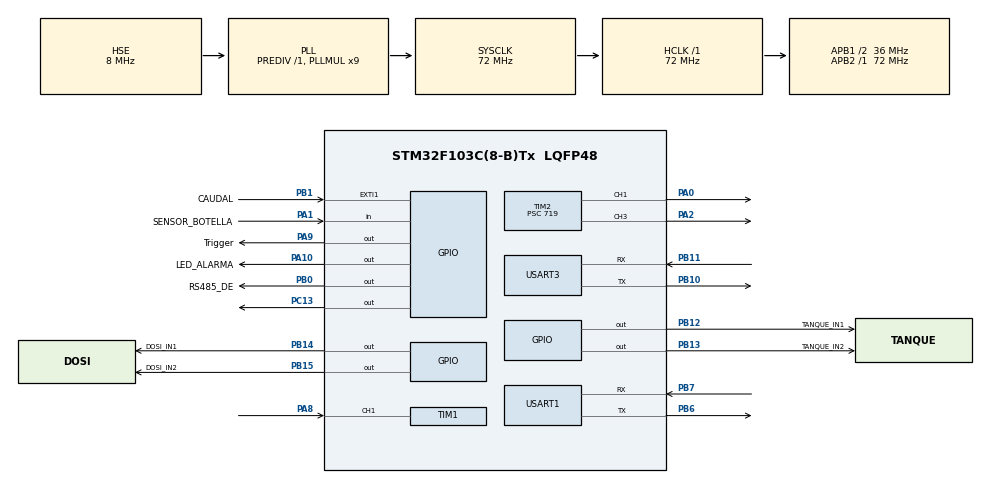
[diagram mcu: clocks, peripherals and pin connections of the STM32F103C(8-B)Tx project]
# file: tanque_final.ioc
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Mcu.Family=STM32F1
Mcu.Name=STM32F103C(8-B)Tx
Mcu.Package=LQFP48
NVIC.EXTI1_IRQn=true\:2\:0\:true\:false\:true\:true\:true\:true
NVIC.PriorityGroup=NVIC_PRIORITYGROUP_4
NVIC.TIM1_CC_IRQn=true\:0\:0\:false\:false\:true\:true\:true\:true
NVIC.USART1_IRQn=true\:0\:0\:false\:false\:true\:true\:true\:true
NVIC.USART3_IRQn=true\:0\:0\:false\:false\:true\:true\:true\:true
PA0-WKUP.Signal=S_TIM2_CH1_ETR
PA1.GPIO_Label=SENSOR_BOTELLA
PA1.GPIO_PuPd=GPIO_PULLUP
PA1.Signal=GPIO_Input
PA10.GPIO_Label=LED_ALARMA
PA10.Signal=GPIO_Output
PA2.Signal=S_TIM2_CH3
PA8.Signal=S_TIM1_CH1
PA9.GPIO_Label=Trigger
PA9.Signal=GPIO_Output
PB0.GPIO_Label=RS485_DE
PB0.Signal=GPIO_Output
PB1.GPIO_Label=CAUDAL
PB1.Signal=GPXTI1
PB10.Mode=Asynchronous
PB10.Signal=USART3_TX
PB11.Mode=Asynchronous
PB11.Signal=USART3_RX
PB12.GPIO_Label=TANQUE_IN1
PB12.Signal=GPIO_Output
PB13.GPIO_Label=TANQUE_IN2
PB13.Signal=GPIO_Output
PB14.GPIO_Label=DOSI_IN1
PB14.Signal=GPIO_Output
PB15.GPIO_Label=DOSI_IN2
PB15.Signal=GPIO_Output
PB6.Mode=Asynchronous
PB6.Signal=USART1_TX
PB7.Mode=Asynchronous
PB7.Signal=USART1_RX
PC13-TAMPER-RTC.Signal=GPIO_Output
PD0-OSC_IN.Mode=HSE-External-Oscillator
PD0-OSC_IN.Signal=RCC_OSC_IN
PD1-OSC_OUT.Mode=HSE-External-Oscillator
PD1-OSC_OUT.Signal=RCC_OSC_OUT
ProjectManager.HeapSize=0x200
ProjectManager.StackSize=0x400
ProjectManager.TargetToolchain=STM32CubeIDE
RCC.AHBFreq_Value=72000000
RCC.APB1CLKDivider=RCC_HCLK_DIV2
RCC.APB1Freq_Value=36000000
RCC.APB1TimFreq_Value=72000000
RCC.APB2Freq_Value=72000000
RCC.APB2TimFreq_Value=72000000
RCC.HCLKFreq_Value=72000000
RCC.PLLMUL=RCC_PLL_MUL9
RCC.PLLSourceVirtual=RCC_PLLSOURCE_HSE
RCC.SYSCLKFreq_VALUE=72000000
RCC.SYSCLKSource=RCC_SYSCLKSOURCE_PLLCLK
RCC.USBFreq_Value=72000000
SH.S_TIM1_CH1.0=TIM1_CH1,Input_Capture1_from_TI1
SH.S_TIM2_CH1_ETR.0=TIM2_CH1,PWM Generation1 CH1
SH.S_TIM2_CH3.0=TIM2_CH3,PWM Generation3 CH3
TIM1.Channel-Input_Capture1_from_TI1=TIM_CHANNEL_1
TIM1.Prescaler=71
TIM2.Channel-PWM\ Generation1\ CH1=TIM_CHANNEL_1
TIM2.Channel-PWM\ Generation3\ CH3=TIM_CHANNEL_3
TIM2.Period=99
TIM2.Prescaler=719
USART1.VirtualMode=VM_ASYNC
USART3.VirtualMode=VM_ASYNC
VP_SYS_VS_ND.Mode=No_Debug
board=custom

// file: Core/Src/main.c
/* USER CODE BEGIN Header */
/**
  ******************************************************************************
  * @file           : main.c
  * @brief          : Main program body
  ******************************************************************************
  * @attention
  *
  * Copyright (c) 2026 STMicroelectronics.
  * All rights reserved.
  *
  * This software is licensed under terms that can be found in the LICENSE file
  * in the root directory of this software component.
  * If no LICENSE file comes with this software, it is provided AS-IS.
  *
  ******************************************************************************
  */
/* USER CODE END Header */
#include "main.h"
#include "tim.h"
#include "usart.h"
#include "gpio.h"

/* USER CODE BEGIN Includes */
#include "hc_sr04.h"
#include "rs485.h"
#include "protocolo_rs485.h"
#include <stdint.h>
#include <stdio.h>
#include <string.h>
/* USER CODE END Includes */

/* USER CODE BEGIN PTD */
typedef enum
{
    TANQUE_AUTONOMO = 0,
    TANQUE_ALARMA   = 1
} EstadoTanque;

typedef enum
{
    DOSIF_ESPERANDO_BOTELLA = 0,
    DOSIF_ESPERANDO_INICIO  = 1,
    DOSIF_LLENANDO          = 2,
    DOSIF_BOTELLA_LLENA     = 3
} EstadoDosificador;
/* USER CODE END PTD */

/* USER CODE BEGIN PD */
#define BUFFER_SIZE                    64

#define ALTURA_TANQUE_CM               28
#define SETPOINT_MAX_CM                24
#define NIVEL_REBOSE_CRITICO_CM        25

//variables para controlar el HC-SR04
#define CONTROL_TANQUE_PERIODO_MS      70
#define LECTURAS_INVALIDAS_MAX         15
#define TIEMPO_MARCHA_SECO_MS          15000

#define BANDA_PROPORCIONAL_CM          8
#define PWM_TANQUE_MIN                 65
#define PWM_TANQUE_MAX                 99

#define PWM_DOSI_RAPIDO                98
#define PWM_DOSI_LENTO                 75
#define PORCENTAJE_CAMBIO_LENTO        80

/* 6,44 pulsos/ml expresado sin punto flotante. Debe calibrarse. */
#define PULSOS_X100_POR_ML             644
#define VOLUMEN_RECETA_MAX_ML          10000

#define ALARMA_SIN_ERROR               0
#define ALARMA_MARCHA_SECO             1
#define ALARMA_REBOSE                  2
#define ALARMA_SENSOR_NIVEL            3

#define RS485_RESPUESTA_DELAY_MS       5
/* USER CODE END PD */

/* USER CODE BEGIN PV */
static volatile EstadoTanque estado_tanque = TANQUE_AUTONOMO;
static volatile EstadoDosificador estado_dosi = DOSIF_ESPERANDO_INICIO;

static uint16_t distancia_tanque_cm = 0;
static volatile uint8_t nivel_tanque_filtrado = 0;
static volatile uint8_t setpoint_nivel = 15;
static volatile uint8_t alarma_codigo = ALARMA_SIN_ERROR;
static uint8_t lecturas_invalidas = 0;

static uint8_t bomba_tanque_encendida = 0;
static uint32_t tick_control_tanque = 0;

static uint32_t tick_uart = 0;
static char mensaje_uart[128];

static uint32_t tick_inicio_bomba = 0;
static uint8_t nivel_inicial_bomba = 0;
static uint8_t chequeo_seco_activo = 0;

static volatile uint16_t volumen_receta_ml = 0;
static volatile uint8_t receta_lista = 0;
static volatile uint32_t pulsos_objetivo = 0;
static volatile uint32_t pulsos_caudal = 0;

static uint8_t rx_byte = 0;
static volatile uint8_t recibiendo = 0;
static volatile uint8_t comando_listo = 0;
static volatile uint8_t comando_desbordado = 0;
static volatile uint8_t indice = 0;
static char buffer_rx[BUFFER_SIZE];

//llenado automatico completo
static uint8_t evento_llenado_pendiente = 0;
static uint16_t evento_llenado_secuencia = 0;
/* USER CODE END PV */

void SystemClock_Config(void);
/* USER CODE BEGIN PFP */
static uint16_t HCSR04_Get_Distance_Filtered(void);
static void interpretar_comando(void);
static uint8_t parsear_uint32(const char *texto, uint32_t *valor);

static void uart_enviar_texto(const char *texto);
static void uart_enviar_respuesta_valor(const char *formato, uint32_t valor1, uint32_t valor2);

static uint8_t Hay_Botella(void);
static void maquina_estados_tanque(void);
static void maquina_estados_dosificador(void);
static void iniciar_dosificacion(void);
static void abortar_dosificacion(void);
static void resetear_alarma_tanque(void);

static void disparar_alarma(uint8_t codigo);
static void detener_bomba_tanque(void);
static void detener_bomba_dosificador(void);
static void procesar_rs485_tanque(void);

static HAL_StatusTypeDef tanque_enviar_rs485(uint8_t origen, uint8_t comando, uint8_t param_h, uint8_t param_l);

static void tanque_generar_evento_llenado(void);
/* USER CODE END PFP */

int main(void)
{

  /* MCU Configuration--------------------------------------------------------*/

  /* Reset of all peripherals, Initializes the Flash interface and the Systick. */
  HAL_Init();

  /* Configure the system clock */
  SystemClock_Config();

  /* Initialize all configured peripherals */
  MX_GPIO_Init();
  MX_TIM1_Init();
  MX_TIM2_Init();
  MX_USART1_UART_Init();
  MX_USART3_UART_Init();

  /* USER CODE BEGIN 2 */
  if (HAL_TIM_PWM_Start(&htim2, TIM_CHANNEL_1) != HAL_OK)
  {
    Error_Handler();
  }

  if (HAL_TIM_PWM_Start(&htim2, TIM_CHANNEL_3) != HAL_OK)
  {
    Error_Handler();
  }

  detener_bomba_tanque();
  detener_bomba_dosificador();

  HAL_GPIO_WritePin(LED_ALARMA_GPIO_Port, LED_ALARMA_Pin, GPIO_PIN_RESET);

  HCSR04_Init();

  if (HAL_UART_Receive_IT(&huart1, &rx_byte, 1) != HAL_OK)
  {
    Error_Handler();
  }

  if (RS485_Init(&huart3, RS485_DE_GPIO_Port, RS485_DE_Pin, ID_TANQUE) != HAL_OK)
  {
    Error_Handler();
  }

  uart_enviar_texto("Iniciando...\r\n");
  uart_enviar_texto("Comandos: :S15 :R500 :I1 :I0 :A1 (terminar con CR/LF)\r\n");

  tick_control_tanque = HAL_GetTick();
  tick_uart = HAL_GetTick();

  /* USER CODE END 2 */

  /* Infinite loop */
  while (1)
  {

    /* USER CODE BEGIN 3 */

    procesar_rs485_tanque();

    if (comando_listo != 0)
    {
      interpretar_comando();
      comando_desbordado = 0;
      comando_listo = 0;
    }

    maquina_estados_dosificador();

    //control del tanque cada 70ms
    if ((HAL_GetTick() - tick_control_tanque) >= CONTROL_TANQUE_PERIODO_MS)
    {
      tick_control_tanque = HAL_GetTick();
      maquina_estados_tanque();
    }

    //cada 1 segundo imprime mensaje de estado por la UART local
    if ((HAL_GetTick() - tick_uart) >= 1000)
    {
      int longitud;
      uint32_t pulsos_actuales = pulsos_caudal;

      tick_uart = HAL_GetTick();
      longitud = snprintf(mensaje_uart, sizeof(mensaje_uart), "STAT: NIVEL=%u,SP=%u,BOTELLA=%u,RECETA=%u,PULSOS=%lu/%lu,ALARMA=%u\r\n",
    		  nivel_tanque_filtrado, setpoint_nivel, Hay_Botella(), volumen_receta_ml, pulsos_actuales, pulsos_objetivo, alarma_codigo);

      HAL_UART_Transmit(&huart1, (uint8_t *)mensaje_uart, (uint16_t)longitud, 100);
    }
  }
  /* USER CODE END 3 */
}

void SystemClock_Config(void)
{
  RCC_OscInitTypeDef RCC_OscInitStruct = {0};
  RCC_ClkInitTypeDef RCC_ClkInitStruct = {0};

  /** Initializes the RCC Oscillators according to the specified parameters
  * in the RCC_OscInitTypeDef structure.
  */
  RCC_OscInitStruct.OscillatorType = RCC_OSCILLATORTYPE_HSE;
  RCC_OscInitStruct.HSEState = RCC_HSE_ON;
  RCC_OscInitStruct.HSEPredivValue = RCC_HSE_PREDIV_DIV1;
  RCC_OscInitStruct.HSIState = RCC_HSI_ON;
  RCC_OscInitStruct.PLL.PLLState = RCC_PLL_ON;
  RCC_OscInitStruct.PLL.PLLSource = RCC_PLLSOURCE_HSE;
  RCC_OscInitStruct.PLL.PLLMUL = RCC_PLL_MUL9;
  if (HAL_RCC_OscConfig(&RCC_OscInitStruct) != HAL_OK)
  {
    Error_Handler();
  }

  /** Initializes the CPU, AHB and APB buses clocks
  */
  RCC_ClkInitStruct.ClockType = RCC_CLOCKTYPE_HCLK|RCC_CLOCKTYPE_SYSCLK
                              |RCC_CLOCKTYPE_PCLK1|RCC_CLOCKTYPE_PCLK2;
  RCC_ClkInitStruct.SYSCLKSource = RCC_SYSCLKSOURCE_PLLCLK;
  RCC_ClkInitStruct.AHBCLKDivider = RCC_SYSCLK_DIV1;
  RCC_ClkInitStruct.APB1CLKDivider = RCC_HCLK_DIV2;
  RCC_ClkInitStruct.APB2CLKDivider = RCC_HCLK_DIV1;

  if (HAL_RCC_ClockConfig(&RCC_ClkInitStruct, FLASH_LATENCY_2) != HAL_OK)
  {
    Error_Handler();
  }
}

/* USER CODE BEGIN 4 */

//para enviar respuestas al maestro, ACKs o NACKs
static HAL_StatusTypeDef tanque_enviar_rs485(uint8_t origen, uint8_t comando, uint8_t param_h, uint8_t param_l)
{
    HAL_Delay(RS485_RESPUESTA_DELAY_MS);

    return RS485_Send_Packet(origen, comando, param_h, param_l);
}

//crea el evento y lo deja pediente
static void tanque_generar_evento_llenado(void)
{
    evento_llenado_secuencia++;

    if (evento_llenado_secuencia == 0) //por si se desborda
    {
        evento_llenado_secuencia = 1;
    }

    evento_llenado_pendiente = 1;
}

static void procesar_rs485_tanque(void)
{
    uint8_t origen; //origen de donde vino el mensaje, no el origen del esclavo
    uint8_t comando;
    uint8_t param_h;
    uint8_t param_l;
    uint16_t valor;

    if (rs485_paquete_listo == 0)
    {
        return;
    }

    origen = rs485_rx_origen;
    comando = rs485_rx_cmd;
    param_h = rs485_rx_param_h;
    param_l = rs485_rx_param_l;

    rs485_paquete_listo = 0;

    if (origen != ID_MAESTRO)
    {
        return;
    }

    valor = (uint16_t)(((uint16_t)param_h << 8) | param_l);

    switch (comando)
    {
        case CMD_PING:
            if (tanque_enviar_rs485(origen, CMD_PONG, param_h, param_l) != HAL_OK)
            {
                uart_enviar_texto("ERR,RS485,NO_SE_PUDO_ENVIAR_PONG\r\n"); //mensaje por la UART local para corroborar
            }
            break;

        case CMD_PEDIR_ESTADO_TANQUE:
            if (tanque_enviar_rs485(origen, CMD_RESP_ESTADO_TANQUE, alarma_codigo, nivel_tanque_filtrado) != HAL_OK)
            {
                uart_enviar_texto("ERR,RS485,NO_SE_PUDO_ENVIAR_ESTADO_TANQUE\r\n");
            }
            break;

        case CMD_PEDIR_ESTADO_DOSIF:
            if (tanque_enviar_rs485(origen, CMD_RESP_ESTADO_DOSIF, (uint8_t)estado_dosi, Hay_Botella()) != HAL_OK)
            {
                uart_enviar_texto("ERR,RS485,NO_SE_PUDO_ENVIAR_ESTADO_DOSIF\r\n");
            }
            break;

        case CMD_PEDIR_EVENTO_TANQUE:

            if (evento_llenado_pendiente != 0) //esta el flag para mandar el evento?
            {
                if (tanque_enviar_rs485(origen, CMD_EVENTO_TANQUE_LLENADO_COMPLETO, (uint8_t)(evento_llenado_secuencia >> 8),
                        (uint8_t)(evento_llenado_secuencia & 0xFF)) != HAL_OK)
                {
                    uart_enviar_texto("ERR,RS485,NO_SE_PUDO_ENVIAR_EVENTO_TANQUE\r\n");
                }
            }
            else
            {
                if (tanque_enviar_rs485(origen, CMD_RESP_SIN_EVENTO, 0, 0) != HAL_OK)
                {
                    uart_enviar_texto("ERR,RS485,NO_SE_PUDO_RESPONDER_SIN_EVENTO\r\n");
                }
            }
            break;

        case CMD_TANQUE_SETPOINT:
            if (valor > SETPOINT_MAX_CM)
            {
                tanque_enviar_rs485(origen, CMD_RESP_NACK, comando, NACK_FUERA_DE_RANGO);
            }
            else
            {
                setpoint_nivel = (uint8_t)valor;
                tanque_enviar_rs485(origen, CMD_RESP_ACK, comando, ACK_OK);
            }
            break;

        case CMD_TANQUE_RECETA:
            if ((valor == 0) || (valor > VOLUMEN_RECETA_MAX_ML))
            {
                tanque_enviar_rs485(origen, CMD_RESP_NACK, comando, NACK_FUERA_DE_RANGO);
            }
            else if ((estado_dosi == DOSIF_LLENANDO) || (estado_dosi == DOSIF_ESPERANDO_BOTELLA))
            {
                tanque_enviar_rs485(origen, CMD_RESP_NACK, comando, NACK_OCUPADO);
            }
            else
            {
                volumen_receta_ml = valor;
                pulsos_objetivo = (((uint32_t)valor * PULSOS_X100_POR_ML) + 50) / 100;
                receta_lista = 1;

                tanque_enviar_rs485(origen, CMD_RESP_ACK, comando, ACK_OK);
            }
            break;

        case CMD_TANQUE_CONTROL_DOSIF:
            if ((param_h != 0) || (param_l > 1)) //este comando corresponde a :TI0 o :TI1 por eso esta condicion
            {
                tanque_enviar_rs485(origen, CMD_RESP_NACK, comando, NACK_PARAMETRO_INVALIDO);
            }
            else if (param_l == 0) //por si llega :TI0
            {
                abortar_dosificacion();
                tanque_enviar_rs485(origen, CMD_RESP_ACK, comando, ACK_OK);
            }
            else if (estado_tanque == TANQUE_ALARMA) //si esta en estado de alaema NACK
            {
                tanque_enviar_rs485(origen, CMD_RESP_NACK, comando, NACK_ALARMA_ACTIVA);
            }
            else if (receta_lista == 0) //si todavia no habian mandado la receta NACK
            {
                tanque_enviar_rs485(origen, CMD_RESP_NACK, comando, NACK_SIN_RECETA);
            }
            else if ((estado_dosi == DOSIF_LLENANDO) || (estado_dosi == DOSIF_ESPERANDO_BOTELLA)) //¿Ya hay una dosificación activa?
            {
                tanque_enviar_rs485(origen, CMD_RESP_NACK, comando, NACK_OCUPADO);
            }
            else if ((estado_dosi == DOSIF_BOTELLA_LLENA) && (Hay_Botella() == 1)) //¿Existe una botella llena todavía colocada?
            {
                tanque_enviar_rs485(origen, CMD_RESP_NACK, comando, NACK_RETIRE_BOTELLA);
            }
            else if (evento_llenado_pendiente == 1) //hay un llenado anterior
            {
                tanque_enviar_rs485(origen, CMD_RESP_NACK, comando, NACK_OCUPADO);
            }
            else
            {
                pulsos_caudal = 0;

                if (Hay_Botella() == 1)
                {
                    estado_dosi = DOSIF_LLENANDO;
                    tanque_enviar_rs485(origen, CMD_RESP_ACK, comando, ACK_OK);
                }
                else
                {
                    estado_dosi = DOSIF_ESPERANDO_BOTELLA;
                    tanque_enviar_rs485(origen, CMD_RESP_ACK, comando, ACK_ESPERANDO_BOTELLA);
                }
            }
            break;

        case CMD_CONFIRMAR_EVENTO_TANQUE:
        {
            uint16_t secuencia_confirmada = (uint16_t)(((uint16_t)param_h << 8) | param_l);

            //¿La secuencia confirmada POR EL MAESTRO es la correcta (la misma que tenemos localmente)?
            if ((evento_llenado_pendiente != 0) && (secuencia_confirmada == evento_llenado_secuencia))
            {
                evento_llenado_pendiente = 0; //borra el flag
            }
            break;
        }

        case CMD_TANQUE_RESET_ALARMA:
            if ((param_h != 0) || (param_l != 1)) //solo acepta :TA1
            {
                tanque_enviar_rs485(origen, CMD_RESP_NACK, comando, NACK_PARAMETRO_INVALIDO);
            }
            else
            {
                resetear_alarma_tanque();
                tanque_enviar_rs485(origen, CMD_RESP_ACK, comando, ACK_OK);
            }
            break;

        default:
            tanque_enviar_rs485(origen, CMD_RESP_NACK, comando, NACK_COMANDO_NO_SOPORTADO);
            break;
    }
}

static void uart_enviar_texto(const char *texto)
{
    if (texto == NULL)
    {
        return;
    }

    HAL_UART_Transmit(&huart1, (uint8_t *)texto, (uint16_t)strlen(texto), 100);
}

static void uart_enviar_respuesta_valor(const char *formato, uint32_t valor1, uint32_t valor2)
{
    int longitud = snprintf(mensaje_uart, sizeof(mensaje_uart), formato, (unsigned long)valor1, (unsigned long)valor2);

    if (longitud > 0)
    {
        uint16_t cantidad = (longitud < (int)sizeof(mensaje_uart)) ?  (uint16_t)longitud : (uint16_t)(sizeof(mensaje_uart) - 1U);

        HAL_UART_Transmit(&huart1, (uint8_t *)mensaje_uart, cantidad, 100);
    }
}

static uint8_t parsear_uint32(const char *texto, uint32_t *valor)
{
    uint32_t acumulado = 0;

    if ((texto == NULL) || (valor == NULL) || (*texto == '\0'))
    {
        return 0;
    }

    while (*texto != '\0')
    {
        uint32_t digito;

        if ((*texto < '0') || (*texto > '9'))
        {
            return 0;
        }

        digito = (uint32_t)(*texto - '0');

        if (acumulado > ((UINT32_MAX - digito) / 10))
        {
            return 0;
        }

        acumulado = (acumulado * 10) + digito;
        texto++;
    }

    *valor = acumulado;
    return 1;
}

//funcion para simplificar la lectura del sensor IR
static uint8_t Hay_Botella(void)
{
    return (HAL_GPIO_ReadPin(SENSOR_BOTELLA_GPIO_Port, SENSOR_BOTELLA_Pin) == GPIO_PIN_RESET) ? 1 : 0; //reset = botella detectada = 1 en este caso
}

//funcion LOCAL, para inicial el llenado
static void iniciar_dosificacion(void) //se utiliza cuando se da :I1 local, realizamos lo mismo en case CMD_TANQUE_CONTROL_DOSIF:
{
    //uint32_t primask;

    if (estado_tanque == TANQUE_ALARMA)
    {
        uart_enviar_texto("ERROR: ALARMA_TANQUE\r\n");
        return;
    }

    if (receta_lista == 0)
    {
        uart_enviar_texto("ERROR: SIN_RECETA\r\n");
        return;
    }

    if ((estado_dosi == DOSIF_LLENANDO) || (estado_dosi == DOSIF_ESPERANDO_BOTELLA))
    {
        uart_enviar_texto("ERROR: DOSIFICACION_ACTIVA\r\n");
        return;
    }

    if ((estado_dosi == DOSIF_BOTELLA_LLENA) && (Hay_Botella() != 0))
    {
        uart_enviar_texto("ERROR: RETIRE_BOTELLA_ANTERIOR\r\n");
        return;
    }

    if (evento_llenado_pendiente != 0)
    {
        uart_enviar_texto("ERROR: EVENTO_LLENADO_SIN_CONFIRMAR\r\n");
        return;
    }

    pulsos_caudal = 0;

    if (Hay_Botella() == 1)
    {
        estado_dosi = DOSIF_LLENANDO;
        uart_enviar_texto("OK: DOSIFICACION INICIADA\r\n");
    }
    else
    {
        estado_dosi = DOSIF_ESPERANDO_BOTELLA;
        uart_enviar_texto("OK: ESPERANDO_BOTELLA\r\n");
    }
}

//detenemos la bomba y borramos los flags
static void abortar_dosificacion(void)
{

    detener_bomba_dosificador();
    estado_dosi = DOSIF_ESPERANDO_INICIO;
    evento_llenado_pendiente = 0;

    pulsos_caudal = 0;
}

static void resetear_alarma_tanque(void)
{
    detener_bomba_tanque();
    chequeo_seco_activo = 0;
    lecturas_invalidas = 0;

    alarma_codigo = ALARMA_SIN_ERROR;
    estado_tanque = TANQUE_AUTONOMO;

    HAL_GPIO_WritePin(LED_ALARMA_GPIO_Port, LED_ALARMA_Pin, GPIO_PIN_RESET);
}

static void maquina_estados_dosificador(void)
{
    uint8_t hay_botella = Hay_Botella();

    switch (estado_dosi)
    {
		case DOSIF_ESPERANDO_INICIO:
			detener_bomba_dosificador();
			break;

        case DOSIF_ESPERANDO_BOTELLA:
            detener_bomba_dosificador();

            if (hay_botella == 1)
            {
                estado_dosi = DOSIF_LLENANDO;
                uart_enviar_texto("OK: BOTELLA_DETECTADA, COMIENZA LLENADO\r\n"); //mensaje UART local
            }
            break;

        case DOSIF_LLENANDO:
        {
            uint32_t pulsos_umbral_lento;

            if (hay_botella == 0) //si se retira la botella durante el llenado, pasamos a esperando botella y cuandoo se detecte terminará AUTMATICO
            {
            	detener_bomba_dosificador();
				estado_dosi = DOSIF_ESPERANDO_BOTELLA;

				uart_enviar_texto("AVISO: BOTELLA_RETIRADA, LLENADO PAUSADO\r\n");
				break;
            }

            if (pulsos_objetivo == 0) //hay receta?
            {
                abortar_dosificacion();
                uart_enviar_texto("ERROR: RECETA_INVALIDA\r\n");
                break;
            }

            pulsos_umbral_lento = (pulsos_objetivo * PORCENTAJE_CAMBIO_LENTO) / 100;

            if (pulsos_caudal >= pulsos_objetivo) //ya llego a los pulsos objetivo?
            {
                detener_bomba_dosificador();
                estado_dosi = DOSIF_BOTELLA_LLENA;

                tanque_generar_evento_llenado();
                uart_enviar_respuesta_valor("OK,LLENADO,COMPLETO,PULSOS=%lu,ML=%lu\r\n", pulsos_caudal, volumen_receta_ml);
            }
            else //llena
            {
                HAL_GPIO_WritePin(DOSI_IN1_GPIO_Port, DOSI_IN1_Pin, GPIO_PIN_SET);
                HAL_GPIO_WritePin(DOSI_IN2_GPIO_Port, DOSI_IN2_Pin, GPIO_PIN_RESET);

                if (pulsos_caudal < pulsos_umbral_lento) //¿ya llego a los pulsos para que desacelere?
                {
                    __HAL_TIM_SET_COMPARE(&htim2, TIM_CHANNEL_3, PWM_DOSI_RAPIDO);
                }
                else
                {
                    __HAL_TIM_SET_COMPARE(&htim2, TIM_CHANNEL_3, PWM_DOSI_LENTO);
                }
            }
            break;
        }

        case DOSIF_BOTELLA_LLENA:

        	detener_bomba_dosificador();
            if (hay_botella == 0) //cuando retiramos la botella vuelve a arrancar el ciclo
            {
                estado_dosi = DOSIF_ESPERANDO_INICIO;
            }
            break;

        default:
            abortar_dosificacion();
            break;
    }
}

static void maquina_estados_tanque(void)
{
    uint16_t distancia = HCSR04_Get_Distance_Filtered();

    if ((distancia < 2) || (distancia > ALTURA_TANQUE_CM)) //¿el nivel se sale de los limites?
    {
        detener_bomba_tanque(); //frenamos el llenado por seguridad, ante al menos una sola lectura invalida

        if (lecturas_invalidas < UINT8_MAX) //evitamos que se desborde la variable para que no vuelva a iniciarse en 0
        {
            lecturas_invalidas++;
        }

        //despues de 15 mediciones malas consecutivas salta la alarma
        if ((lecturas_invalidas >= LECTURAS_INVALIDAS_MAX) && (estado_tanque != TANQUE_ALARMA))
        {
            disparar_alarma(ALARMA_SENSOR_NIVEL);  //significa que realmente el sensor no esta funcionando
        }

        return;
    }

    //si la medicion es valida
    lecturas_invalidas = 0;
    distancia_tanque_cm = distancia;
    nivel_tanque_filtrado = (uint8_t)(ALTURA_TANQUE_CM - distancia_tanque_cm);

    if (estado_tanque != TANQUE_ALARMA)
    {
        if (nivel_tanque_filtrado >= NIVEL_REBOSE_CRITICO_CM)
        {
            disparar_alarma(ALARMA_REBOSE);
        }
        else if (bomba_tanque_encendida != 0)
        {
            if (chequeo_seco_activo == 0)
            {
                chequeo_seco_activo = 1;
                tick_inicio_bomba = HAL_GetTick();
                nivel_inicial_bomba = nivel_tanque_filtrado;
            }
            else if ((HAL_GetTick() - tick_inicio_bomba) >= TIEMPO_MARCHA_SECO_MS)  //si ha estado funcioonando 15seg, verificamos que haya subido el nivel
            {
                if (nivel_tanque_filtrado <= nivel_inicial_bomba) //si el nivel no ha aumentado, enccendemos la alarma
                {
                    disparar_alarma(ALARMA_MARCHA_SECO);
                }
                else  //si aumenta, iniciamos un nuevo periodo de comprobacion
                {
                    tick_inicio_bomba = HAL_GetTick();
                    nivel_inicial_bomba = nivel_tanque_filtrado;
                }
            }
        }
        else //si la bomba esta apagada
        {
            chequeo_seco_activo = 0;
        }
    }

    //despues de todas las comprobaciones tenemos el control del nivel
    switch (estado_tanque)
    {
        case TANQUE_AUTONOMO:
        {
            int16_t error = (int16_t)setpoint_nivel - (int16_t)nivel_tanque_filtrado;

            if (error >= 3)
            {
                uint8_t pwm;
                bomba_tanque_encendida = 1; //flag para el control de alarmas tambien

                if (error >= BANDA_PROPORCIONAL_CM)
                {
                    pwm = PWM_TANQUE_MAX;
                }
                else
                {
                    pwm = PWM_TANQUE_MIN + (uint8_t)(((PWM_TANQUE_MAX - PWM_TANQUE_MIN) * error) / BANDA_PROPORCIONAL_CM);
                }

                HAL_GPIO_WritePin(TANQUE_IN1_GPIO_Port, TANQUE_IN1_Pin, GPIO_PIN_SET);
                HAL_GPIO_WritePin(TANQUE_IN2_GPIO_Port, TANQUE_IN2_Pin, GPIO_PIN_RESET);
                __HAL_TIM_SET_COMPARE(&htim2, TIM_CHANNEL_1, pwm);

            }
            else if (error <= 0)
            {
                detener_bomba_tanque();
            }
            break;
        }

        case TANQUE_ALARMA:
        default:
            detener_bomba_tanque();
            break;
    }
}

static void detener_bomba_tanque(void)
{
    bomba_tanque_encendida = 0; //flag de que la bomba esta apagada

    __HAL_TIM_SET_COMPARE(&htim2, TIM_CHANNEL_1, 0);

    HAL_GPIO_WritePin(TANQUE_IN1_GPIO_Port, TANQUE_IN1_Pin, GPIO_PIN_RESET);
    HAL_GPIO_WritePin(TANQUE_IN2_GPIO_Port, TANQUE_IN2_Pin, GPIO_PIN_RESET);
}

static void detener_bomba_dosificador(void)
{
    __HAL_TIM_SET_COMPARE(&htim2, TIM_CHANNEL_3, 0);

    HAL_GPIO_WritePin(DOSI_IN1_GPIO_Port, DOSI_IN1_Pin, GPIO_PIN_RESET);
    HAL_GPIO_WritePin(DOSI_IN2_GPIO_Port, DOSI_IN2_Pin, GPIO_PIN_RESET);
}

static void disparar_alarma(uint8_t codigo) //seguridad local
{
    estado_tanque = TANQUE_ALARMA;
    alarma_codigo = codigo;
    chequeo_seco_activo = 0; //no comprobamos la marcha en seco porque esta detenido

    detener_bomba_tanque();
    abortar_dosificacion();

    HAL_GPIO_WritePin(LED_ALARMA_GPIO_Port, LED_ALARMA_Pin, GPIO_PIN_SET);

    uart_enviar_respuesta_valor("ALARM,TANQUE,CODIGO=%lu\r\n", codigo, 0); //aviso por uart local
}

void HAL_GPIO_EXTI_Callback(uint16_t GPIO_Pin)
{
    if ((GPIO_Pin == CAUDAL_Pin) && (estado_dosi == DOSIF_LLENANDO))
    {
        pulsos_caudal++;
    }
}

static void interpretar_comando(void) //interprete de comandos por UART local //aa
{
    uint32_t valor;
    char comando;

    if (comando_desbordado != 0)
    {
        uart_enviar_texto("ERR,COMANDO_DEMASIADO_LARGO\r\n");
        return;
    }

    if (buffer_rx[0] == '\0')
    {
        uart_enviar_texto("ERR,COMANDO_VACIO\r\n");
        return;
    }

    comando = buffer_rx[0];
    if ((comando >= 'a') && (comando <= 'z'))
    {
        comando = (char)(comando - ('a' - 'A'));
    }

    if (parsear_uint32(&buffer_rx[1], &valor) == 0U)
    {
        uart_enviar_texto("ERR,PARAMETRO_INVALIDO\r\n");
        return;
    }

    switch (comando)
    {
        case 'S':
            if (valor > SETPOINT_MAX_CM)
            {
                uart_enviar_respuesta_valor("ERR,S,RANGO=0..%lu\r\n",SETPOINT_MAX_CM, 0U);
                return;
            }

            setpoint_nivel = (uint8_t)valor;
            uart_enviar_respuesta_valor("OK,S,%lu\r\n", valor, 0U);
            break;

        case 'R':
            if ((valor == 0U) || (valor > VOLUMEN_RECETA_MAX_ML))
            {
                uart_enviar_respuesta_valor("ERR,R,RANGO=1..%lu\r\n", VOLUMEN_RECETA_MAX_ML, 0U);
                return;
            }

            if ((estado_dosi == DOSIF_LLENANDO) || (estado_dosi == DOSIF_ESPERANDO_BOTELLA))
            {
                uart_enviar_texto("ERR,R,DOSIFICACION_ACTIVA\r\n");
                return;
            }

            volumen_receta_ml = (uint16_t)valor;
            pulsos_objetivo = ((valor * PULSOS_X100_POR_ML) + 50U) / 100U;
            receta_lista = 1U;

            uart_enviar_respuesta_valor("OK,R,ML=%lu,PULSOS=%lu\r\n", valor, pulsos_objetivo);
            break;

        case 'I':
            if (valor == 1)
            {
                iniciar_dosificacion();
            }
            else if (valor == 0)
            {
                abortar_dosificacion();
                uart_enviar_texto("OK,I,ABORTADA\r\n");
            }
            else
            {
                uart_enviar_texto("ERR,I,USE_0_O_1\r\n");
            }
            break;

        case 'A':
            if (valor == 1U)
            {
                resetear_alarma_tanque();
                uart_enviar_texto("OK,A,RESETEADA\r\n");
            }
            else
            {
                uart_enviar_texto("ERR,A,USE_1\r\n");
            }
            break;

        default:
            uart_enviar_texto("ERR,COMANDO_DESCONOCIDO\r\n");
            break;
    }
}

static uint16_t HCSR04_Get_Distance_Filtered(void) //filtro para suavizar los cambios repentinos
{
    static uint16_t muestras[7] = {0};
    static uint8_t cantidad = 0;
    static uint8_t posicion = 0;
    uint32_t suma = 0;

    uint16_t distancia = HCSR04_Get_Distance();     //esta es la distancia del sensor a la superficie

    if ((distancia < 1) || (distancia > 30)) //rechazamos mediciones claramente inválidas
    {
        return 0;
    }

    muestras[posicion] = distancia;
    posicion = (uint8_t)((posicion + 1) % 7); //con %7 hace que vuelva a 0 despues de 6  → BUFFER CIRCULAR

    if (cantidad < 7) //al encender todavia no hay 7 mediciones
    {
        cantidad++;
    }

    for (uint8_t i = 0; i < cantidad; i++)
    {
        suma += muestras[i];
    }

    return (uint16_t)(suma / cantidad);
}

void HAL_UART_RxCpltCallback(UART_HandleTypeDef *huart)
{
    if (huart->Instance == USART1)
    {
        char dato = (char)rx_byte;

        if ((dato == ':') && (comando_listo == 0))
        {
            recibiendo = 1;
            indice = 0;
            comando_desbordado = 0;
            buffer_rx[0] = '\0';
        }
        else if ((recibiendo != 0) && (comando_listo == 0))
        {
            if ((dato == '\n') || (dato == '\r'))
            {
                buffer_rx[indice] = '\0';
                recibiendo = 0;
                comando_listo = 1;
            }
            else if (indice < (BUFFER_SIZE - 1U))
            {
                buffer_rx[indice++] = dato;
            }
            else
            {
                comando_desbordado = 1;
            }
        }

        HAL_UART_Receive_IT(&huart1, &rx_byte, 1);
    }
    else if (huart->Instance == USART3)
    {
        RS485_Rx_Callback(huart);
    }
}

void HAL_UART_ErrorCallback(UART_HandleTypeDef *huart)
{
    if (huart->Instance == USART1)
    {
        __HAL_UART_CLEAR_OREFLAG(huart);

        recibiendo = 0U;
        indice = 0U;
        comando_desbordado = 0U;

        huart->ErrorCode = HAL_UART_ERROR_NONE;
        huart->RxState = HAL_UART_STATE_READY;
        __HAL_UNLOCK(huart);

        HAL_UART_Receive_IT(&huart1, &rx_byte, 1U);
    }
    else if (huart->Instance == USART3)
    {
        RS485_Error_Callback(huart);
    }
}

/* USER CODE END 4 */

void Error_Handler(void)
{
  /* USER CODE BEGIN Error_Handler_Debug */
  /* User can add his own implementation to report the HAL error return state */
  __disable_irq();
  while (1)
  {
	  HAL_GPIO_TogglePin(GPIOC, GPIO_PIN_13);
	  for(volatile int i=0; i<1000000; i++); //indicador de que hay un error
  }
  /* USER CODE END Error_Handler_Debug */
}
